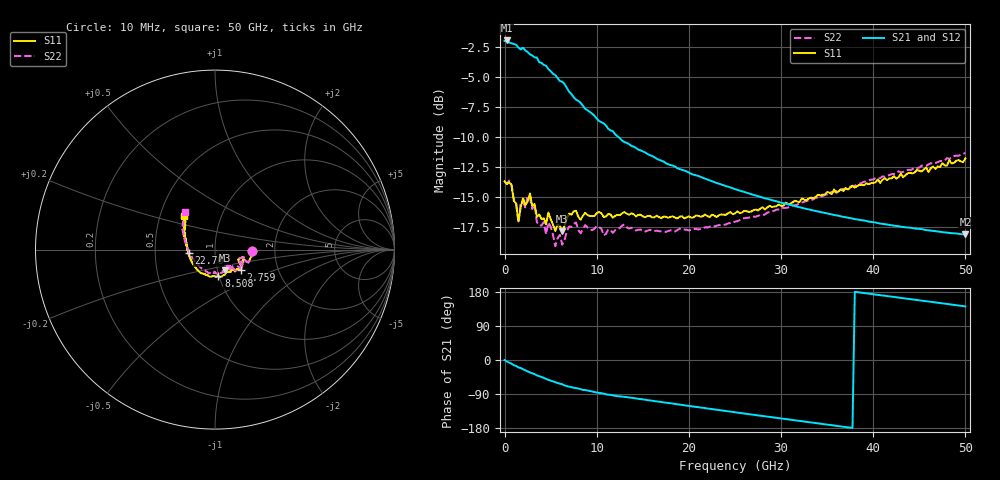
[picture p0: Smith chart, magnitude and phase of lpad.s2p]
# HZ S DB R 50
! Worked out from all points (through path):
!   201 points, 10 MHz to 50 GHz, reference 50 ohm
!   highest |S21| = -1.92 dB at 259.9 MHz (marker M1); lowest = -18.2 dB at 50 GHz (marker M2)
!   lowest |S11| = -17.9 dB at 6.259 GHz (marker M3), VSWR 1.29, Z = 54.2 - j12.7 ohm
!   |S11| at or under -10 dB: start of sweep to end of sweep
!   |S22| runs from -19.1 to -11.3 dB; largest |S21 - S12| = 0.0056
!   S11 on the Smith chart (normalised r, x): 10 MHz: 1.52, -0.02; 2.759 GHz: 1.30, -0.30; 8.508 GHz: 0.99, -0.30; 22.76 GHz: 0.74, -0.03; 50 GHz: 0.66, +0.27
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1e7  -13.72 -1.7  -1.96 0.0  -2.01 0.3  -13.75 -1.5
2.5995e8  -13.93 -4.4  -1.92 -4.2  -1.92 -4.2  -13.91 -3.4
7.5985e8  -14.04 -21.3  -2.16 -9.7  -2.16 -9.8  -13.99 -21.1
1.5097e9  -17.08 -23.6  -2.52 -19.7  -2.52 -19.8  -17.17 -21.0
1.75965e9  -15.88 -14.4  -2.67 -20.9  -2.66 -21.0  -15.51 -14.7
2.75945e9  -14.73 -37.4  -3.08 -32.9  -3.08 -33.0  -15.12 -36.1
3.25935e9  -15.62 -47.4  -3.34 -37.3  -3.34 -37.4  -15.62 -45.1
3.5093e9  -16.70 -48.2  -3.35 -40.5  -3.35 -40.7  -17.13 -46.1
4.25915e9  -16.80 -52.9  -3.97 -47.1  -3.97 -47.2  -17.13 -48.9
4.5091e9  -17.30 -51.6  -4.03 -49.8  -4.03 -49.9  -18.14 -47.4
4.75905e9  -16.33 -53.9  -4.32 -52.4  -4.32 -52.6  -17.16 -47.9
5.5089e9  -17.87 -60.6  -4.81 -58.4  -4.82 -58.6  -19.14 -52.8
6.0088e9  -17.44 -64.8  -5.32 -62.4  -5.32 -62.6  -18.20 -55.4
6.25875e9  -17.90 -64.8  -5.37 -63.9  -5.37 -64.1  -19.02 -55.6
7.0086e9  -16.42 -69.0  -6.21 -70.4  -6.21 -70.6  -17.50 -56.5
8.5083e9  -16.58 -82.5  -7.39 -79.0  -7.39 -79.3  -17.68 -69.0
1.675665e10  -16.71 -146.8  -11.91 -110.0  -11.91 -110.5  -17.89 -130.6
2.275545e10  -16.58 -173.1  -13.78 -130.5  -13.78 -131.0  -17.50 -160.4
2.5005e10  -16.40 -178.8  -14.37 -138.0  -14.37 -138.6  -17.09 -169.9
3.35033e10  -15.13 159.0  -16.16 -165.6  -16.15 -166.5  -15.23 164.5
4.175165e10  -13.47 143.5  -17.37 167.9  -17.36 166.8  -13.19 144.9
5e10  -11.80 132.6  -18.16 141.4  -18.18 140.2  -11.34 128.5
